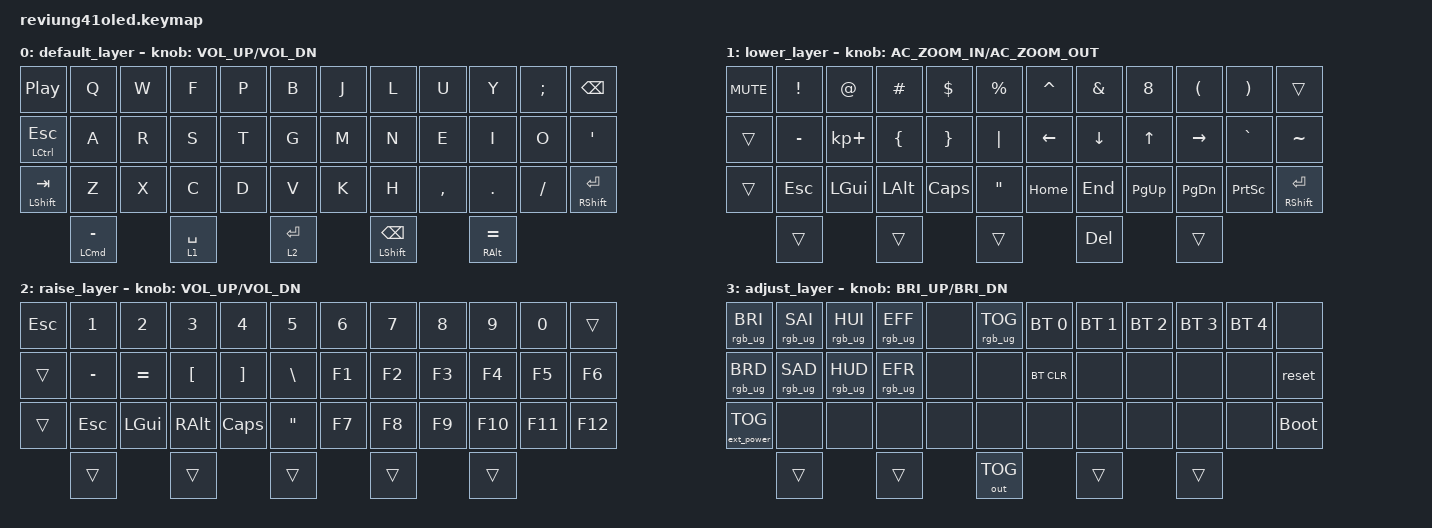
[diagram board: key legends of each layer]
/*
 * Copyright (c) 2020 The ZMK Contributors
 *
 * SPDX-License-Identifier: MIT
 */

#include <behaviors.dtsi>
#include <dt-bindings/zmk/keys.h>
#include <dt-bindings/zmk/rgb.h>
#include <dt-bindings/zmk/bt.h>
#include <dt-bindings/zmk/outputs.h>
#include <dt-bindings/zmk/ext_power.h>


/ {

        keymap {
                compatible = "zmk,keymap";

                default_layer {
// -------------------------------------------------------------------------------------
// |  TAB |  Q  |  W  |  F  |  P  |  B  |   |  J  |  L   |  U  |  Y  |  :  |   BKSP    |
// | CTRL |  A  |  R  |  S  |  T  |  G  |   |  M  |  N   |  E  |  I  |  O  |    '      |
// | SHFT |  Z  |  X  |  C  |  D  |  V  |   |  K  |  H   |  ,  |  .  |  /  | SHFT(RET) |
//              | LCMD   |  LWR/SPC  | RSE/ENT |   LSHFT/BKSP  | ALT |
                        bindings = <
   &kp C_PP             &kp Q &kp W &kp F &kp P &kp B   &kp J &kp L  &kp U     &kp Y   &kp SEMI &kp BSPC
   &mt LCTRL ESC        &kp A &kp R &kp S &kp T &kp G   &kp M &kp N  &kp E     &kp I   &kp O    &kp SQT
   &mt LSHFT TAB        &kp Z &kp X &kp C &kp D &kp V   &kp K &kp H  &kp COMMA &kp DOT &kp FSLH &mt RSHFT RET
                        &mt LCMD MINUS &lt 1 SPACE &lt 2 RET &mt LSHFT BSPC &mt RALT EQUAL
                        >;
                        sensor-bindings = <&inc_dec_kp C_VOL_UP C_VOL_DN>;
                };

                lower_layer {
// ----------------------------------------------------------------------------------
// |    |  !  |  @  |  #  |  $  |  %  |   |  ^  |  &  |  *  |  (  |  )  |    DEL    |
// |    |  _  |  +  |  {  |  }  | "|" |   | LFT | DWN |  UP | RGT |  `  |     ~     |
// |    | ESC | GUI | ALT | CAPS|  "  |   | HOME| END | PGUP| PGDN| PRSC| SHFT(RET) |
//                       |     |     | RET | ADJ |     |
                        bindings = <
   &kp C_MUTE   &kp EXCL  &kp AT      &kp HASH &kp DLLR &kp PRCNT      &kp CARET &kp AMPS &kp N8    &kp LPAR  &kp RPAR  &trans
   &trans       &kp MINUS &kp KP_PLUS &kp LBRC &kp RBRC &kp PIPE       &kp LEFT  &kp DOWN &kp UP    &kp RIGHT &kp GRAVE &kp TILDE
   &trans       &kp ESC   &kp LGUI    &kp LALT &kp CLCK &kp DQT        &kp HOME  &kp END  &kp PG_UP &kp PG_DN &kp PSCRN &mt RSHFT RET
                                 &trans      &trans       &trans        &kp DEL    &trans
                        >;
                        sensor-bindings = <&inc_dec_kp C_AC_ZOOM_IN C_AC_ZOOM_OUT>;
                };

                raise_layer {
// -----------------------------------------------------------------------------------------
// |    |  1  |  2  |  3  |  4  |  5  |   |  6  |  7  |  8  |  9  |  0  | DEL |
// |    |  -  |  =  |  [  |  ]  |  \  |   | F1  | F2  | F3  | F4  | F5  | F6  |
// |    | ESC | GUI | ALT | CAPS|  "  |   | F7  | F8  | F9  | F10 | F11 | F12 |
//                       |     | ADJ | BKSP |    |     |
                        bindings = <
   &kp ESC &kp N1    &kp N2    &kp N3    &kp N4    &kp N5        &kp N6    &kp N7    &kp N8    &kp N9    &kp N0    &trans
   &trans  &kp MINUS &kp EQUAL &kp LBKT  &kp RBKT  &kp BSLH      &kp F1    &kp F2    &kp F3    &kp F4    &kp F5    &kp F6
   &trans  &kp ESC   &kp LGUI  &kp RALT  &kp CLCK  &kp DQT       &kp F7    &kp F8    &kp F9    &kp F10   &kp F11   &kp F12
                                &trans      &trans       &trans        &trans      &trans
                        >;
                        sensor-bindings = <&inc_dec_kp C_VOL_UP C_VOL_DN>;
                };

                adjust_layer {
// -----------------------------------------------------------------------------------------
// | RGB BRI+ | RGB SAT+ | RGB HUE+ | RGB ANI+ |    | RGB TOG |   |  BT1  | BT2 | BT3 | BT4 | BT5 | BT CLR |
// | RGB BRI- | RGB SAT- | RGB HUE- | RGB ANI- |    |         |   |       |     |     |     |     |        |
// |          |          |          |          |    |         |   |       |     |     |     |     |        |
//                                              |     |     |     |     |     |
                        bindings = <
   &rgb_ug RGB_BRI &rgb_ug RGB_SAI &rgb_ug RGB_HUI &rgb_ug RGB_EFF &none &rgb_ug RGB_TOG    &bt BT_SEL 0 &bt BT_SEL 1 &bt BT_SEL 2 &bt BT_SEL 3 &bt BT_SEL 4 &none      
   &rgb_ug RGB_BRD &rgb_ug RGB_SAD &rgb_ug RGB_HUD &rgb_ug RGB_EFR &none &none              &bt BT_CLR  &none        &none        &none        &none        &reset
   &ext_power EP_TOG &none         &none           &none           &none &none              &none       &none        &none        &none        &none        &bootloader
                                                             &trans      &trans     &out OUT_TOG        &trans      &trans
                        >;
                        sensor-bindings = <&inc_dec_kp C_BRI_UP C_BRI_DN>;
                };
        };
};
